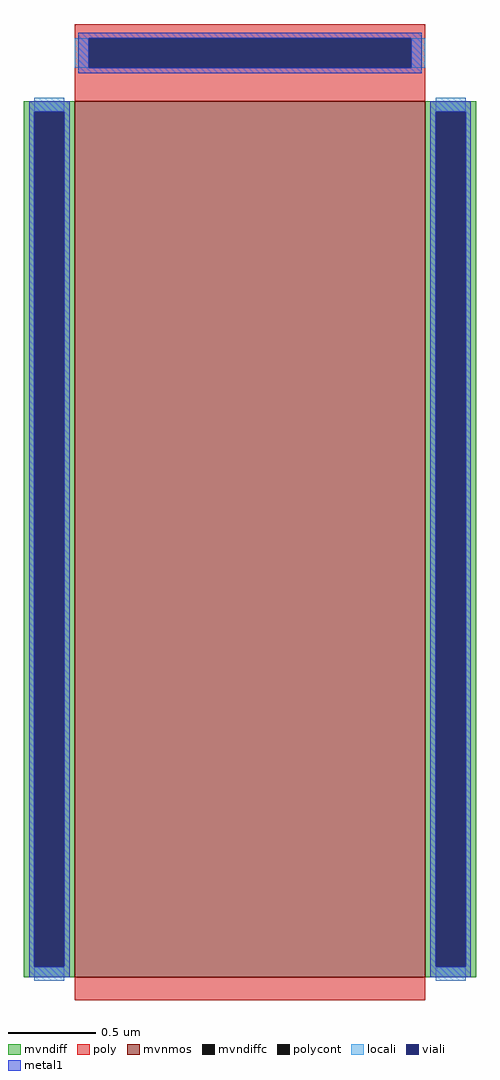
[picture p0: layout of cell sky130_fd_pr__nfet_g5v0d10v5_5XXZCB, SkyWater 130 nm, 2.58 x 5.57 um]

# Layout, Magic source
magic
tech sky130A
magscale 1 2
<< mvnmos >>
rect -200 -531 200 469
<< mvndiff >>
rect -258 457 -200 469
rect -258 -519 -246 457
rect -212 -519 -200 457
rect -258 -531 -200 -519
rect 200 457 258 469
rect 200 -519 212 457
rect 246 -519 258 457
rect 200 -531 258 -519
<< mvndiffc >>
rect -246 -519 -212 457
rect 212 -519 246 457
<< poly >>
rect -200 541 200 557
rect -200 507 -184 541
rect 184 507 200 541
rect -200 469 200 507
rect -200 -557 200 -531
<< polycont >>
rect -184 507 184 541
<< locali >>
rect -200 507 -184 541
rect 184 507 200 541
rect -246 457 -212 473
rect -246 -535 -212 -519
rect 212 457 246 473
rect 212 -535 246 -519
<< viali >>
rect -184 507 184 541
rect -246 -519 -212 457
rect 212 -519 246 457
<< metal1 >>
rect -196 541 196 547
rect -196 507 -184 541
rect 184 507 196 541
rect -196 501 196 507
rect -252 457 -206 469
rect -252 -519 -246 457
rect -212 -519 -206 457
rect -252 -531 -206 -519
rect 206 457 252 469
rect 206 -519 212 457
rect 246 -519 252 457
rect 206 -531 252 -519
<< properties >>
string gencell sky130_fd_pr__nfet_g5v0d10v5
string library sky130
string parameters w 5.0 l 2.0 m 1 nf 1 diffcov 100 polycov 100 guard 0 glc 0 grc 0 gtc 0 gbc 0 tbcov 100 rlcov 100 topc 1 botc 0 poverlap 0 doverlap 1 lmin 0.50 wmin 0.42 compatible {sky130_fd_pr__nfet_01v8 sky130_fd_pr__nfet_01v8_lvt  sky130_fd_bs_flash__special_sonosfet_star  sky130_fd_pr__nfet_g5v0d10v5 sky130_fd_pr__nfet_05v0_nvt  sky130_fd_pr__nfet_03v3_nvt} full_metal 0 viasrc 100 viadrn 100 viagate 100 viagb 0 viagr 0 viagl 0 viagt 0
<< end >>
